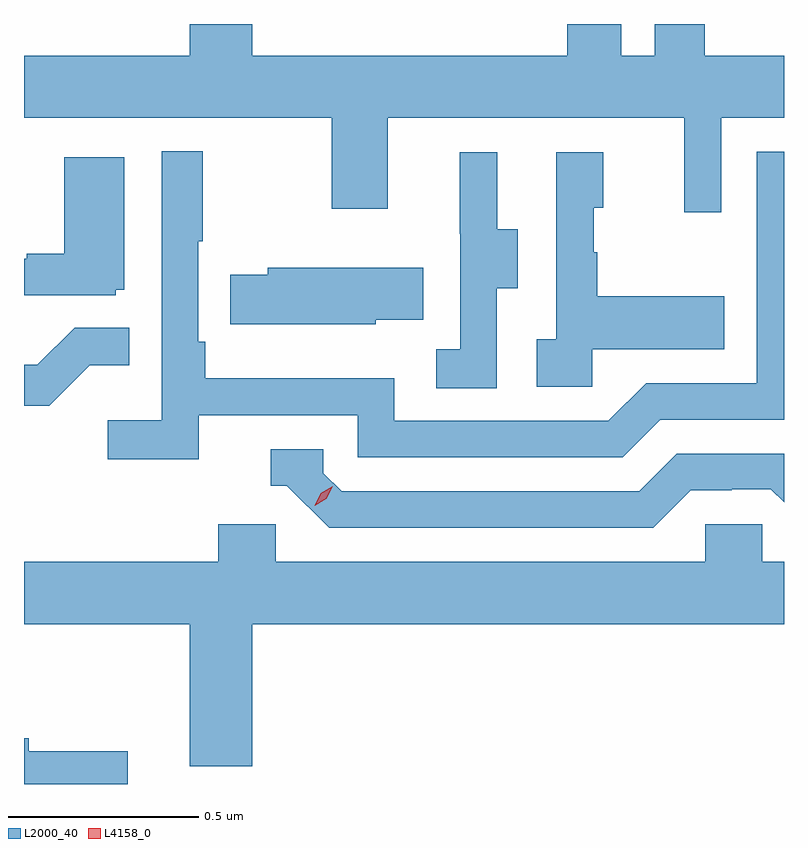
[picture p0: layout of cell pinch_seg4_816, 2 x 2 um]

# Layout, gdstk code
import gdstk
lib = gdstk.Library(unit=1e-6, precision=1e-09)
def P(c, l, *ps):  # polygons
    for p in ps: c.add(gdstk.Polygon(p, *l))
L2000_40 = (2000, 40)
L4158_0 = (4158, 0)

pinch_seg4_816 = lib.new_cell('pinch_seg4_816')
P(pinch_seg4_816, L2000_40, [(825.747,811.472),(825.912,811.472),(825.912,811.636),(825.703,811.636),(825.703,811.719),(825.572,811.719),(825.572,811.636),(825.484,811.636),(825.484,811.719),(825.341,811.719),(825.341,811.636),(824.512,811.636),(824.512,811.719),(824.348,811.719),(824.348,811.636),(823.912,811.636),(823.912,811.472),(824.722,811.472),(824.722,811.233),(824.869,811.233),(824.869,811.472),(825.65,811.472),(825.65,811.224),(825.747,811.224)],
  [(824.372,810.69),(824.79,810.69),(824.79,810.579),(825.487,810.579),(825.586,810.678),(825.912,810.678),(825.912,811.383),(825.84,811.383),(825.84,810.774),(825.549,810.774),(825.45,810.675),(824.886,810.675),(824.886,810.787),(824.389,810.787),(824.389,810.883),(824.37,810.883),(824.37,811.147),(824.383,811.147),(824.383,811.384),(824.274,811.384),(824.274,810.676),(824.133,810.676),(824.133,810.574),(824.372,810.574)],
  [(825.408,810.863),(825.755,810.863),(825.755,811.003),(825.421,811.003),(825.421,811.118),(825.411,811.118),(825.411,811.236),(825.436,811.236),(825.436,811.381),(825.312,811.381),(825.312,810.89),(825.261,810.89),(825.261,810.765),(825.408,810.765)],
  [(825.156,811.024),(825.211,811.024),(825.211,811.179),(825.157,811.179),(825.157,811.381),(825.059,811.381),(825.059,811.167),(825.06,811.167),(825.06,810.863),(824.997,810.863),(824.997,810.76),(825.156,810.76)],
  [(824.154,811.02),(824.176,811.02),(824.176,811.369),(824.018,811.369),(824.018,811.114),(823.919,811.114),(823.919,811.101),(823.912,811.101),(823.912,811.005),(824.154,811.005)],
  [(824.838,810.941),(824.963,810.941),(824.963,811.078),(824.553,811.078),(824.553,811.059),(824.455,811.059),(824.455,810.929),(824.838,810.929)],
  [(824.085,810.821),(824.189,810.821),(824.189,810.92),(824.045,810.92),(823.947,810.822),(823.912,810.822),(823.912,810.714),(823.978,810.714)],
  [(825.667,810.492),(825.774,810.492),(825.774,810.495),(825.877,810.495),(825.912,810.46),(825.912,810.588),(825.63,810.588),(825.531,810.489),(824.748,810.489),(824.7,810.537),(824.7,810.6),(824.561,810.6),(824.561,810.504),(824.604,810.504),(824.715,810.393),(825.568,810.393)],
  [(824.512,810.14),(825.912,810.14),(825.912,810.304),(825.855,810.304),(825.855,810.402),(825.705,810.402),(825.705,810.304),(824.574,810.304),(824.574,810.402),(824.423,810.402),(824.423,810.304),(823.912,810.304),(823.912,810.14),(824.348,810.14),(824.348,809.766),(824.512,809.766)],
  [(824.185,809.805),(823.924,809.805),(823.924,809.839),(823.912,809.839),(823.912,809.719),(824.185,809.719)])
P(pinch_seg4_816, L4158_0, [(824.677,810.451),(824.677,810.451),(824.693,810.484),(824.724,810.502),(824.724,810.502),(824.724,810.502),(824.708,810.47),(824.677,810.451)])

lib.write_gds('pinch_seg4_816.gds')
